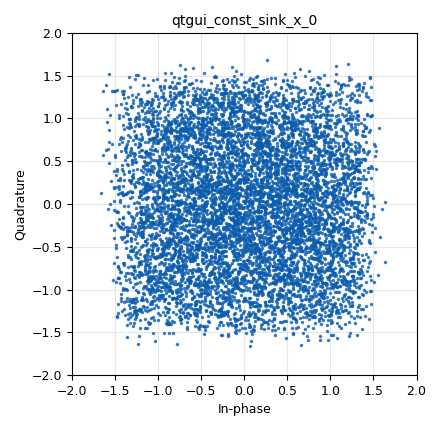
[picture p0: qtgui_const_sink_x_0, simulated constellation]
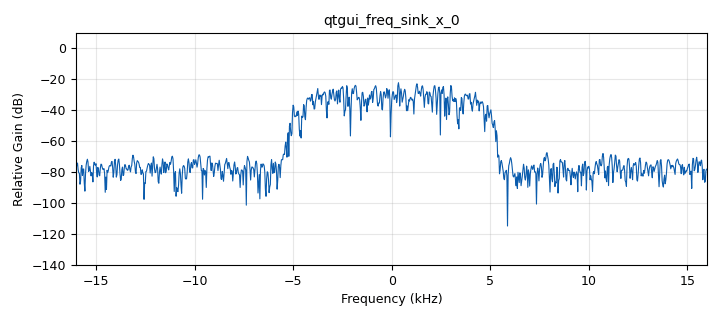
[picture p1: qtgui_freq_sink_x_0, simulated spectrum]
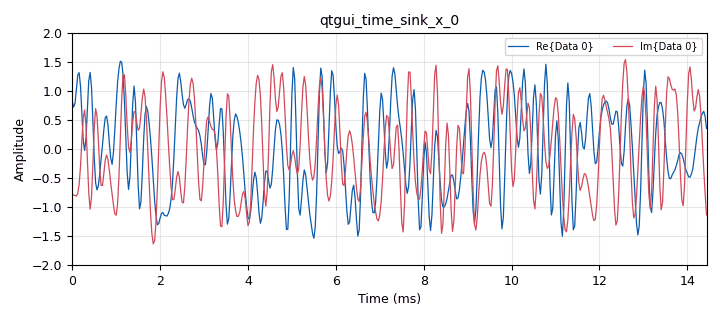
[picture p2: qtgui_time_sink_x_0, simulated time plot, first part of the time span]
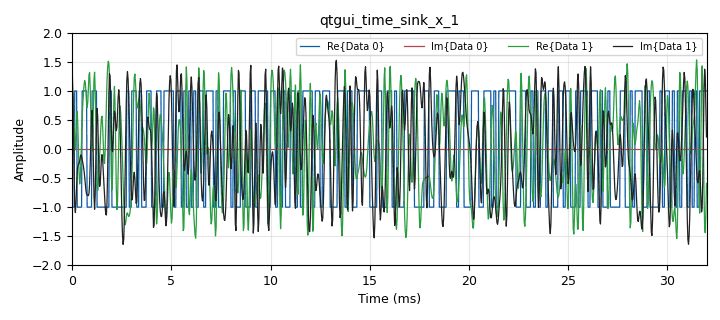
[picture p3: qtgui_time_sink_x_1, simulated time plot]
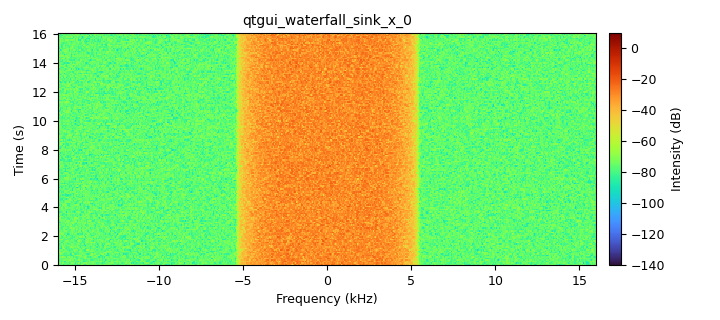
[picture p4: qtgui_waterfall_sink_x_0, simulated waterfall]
options:
  parameters:
    generate_options: qt_gui
    id: QAM64
    output_language: python
    title: 64 QAM
  states: {}

blocks:
- name: M
  id: variable
  parameters:
    value: '64'
  states: {}
- name: QAM_64
  id: variable_constellation
  parameters:
    const_points: '[-7+7j, -5+7j, -3+7j, -1+7j,  1+7j,  3+7j,  5+7j,  7+7j, -7+5j, -5+5j, -3+5j, -1+5j,  1+5j,  3+5j,  5+5j,  7+5j, -7+3j, -5+3j, -3+3j, -1+3j,  1+3j,  3+3j,  5+3j,  7+3j, -7+1j, -5+1j, -3+1j, -1+1j,  1+1j,  3+1j,  5+1j,  7+1j, -7-1j, -5-1j, -3-1j, -1-1j,  1-1j,  3-1j,  5-1j,  7-1j, -7-3j, -5-3j, -3-3j, -1-3j,  1-3j,  3-3j,  5-3j,  7-3j, -7-5j, -5-5j, -3-5j, -1-5j,  1-5j,  3-5j,  5-5j,  7-5j, -7-7j, -5-7j, -3-7j, -1-7j,  1-7j,  3-7j,  5-7j,  7-7j]'
    dims: '1'
    normalization: digital.constellation.AMPLITUDE_NORMALIZATION
    npwr: '0.000'
    precision: '8'
    rot_sym: '4'
    sym_map: '[0, 1, 3, 2, 6, 7, 5, 4, 8, 9, 11, 10, 14, 15, 13, 12, 24, 25, 27, 26, 30, 31, 29, 28, 16, 17, 19, 18, 22, 23, 21, 20, 48, 49, 51, 50, 54, 55, 53, 52, 56, 57, 59, 58, 62, 63, 61, 60, 40, 41, 43, 42, 46, 47, 45, 44, 32, 33, 35, 34, 38, 39, 37, 36]'
    type: calcdist
  states: {}
- name: excess_bw
  id: variable
  parameters:
    value: '0.35'
  states: {}
- name: excess_bw
  id: variable_qtgui_range
  parameters:
    start: '0'
    step: '0.1'
    stop: '1'
    value: '0'
  states: {state: disabled}
- name: filename
  id: variable
  parameters:
    value: '"QAM_64"'
  states: {}
- name: freq_offset
  id: variable_qtgui_range
  parameters:
    comment: 0,2,1,1
    label: 'Channel: Frequency Offset'
    start: '-0.2'
    step: '0.001'
    stop: '0.2'
    value: '0.00'
    widget: eng_slider
  states: {}
- name: n_samples
  id: variable
  parameters:
    value: '1024'
  states: {}
- name: noise_volt
  id: variable_qtgui_range
  parameters:
    comment: 0,0,1,1
    label: 'Channel: Noise Voltage'
    start: '0'
    step: '0.01'
    stop: '1'
    value: '0.01'
  states: {}
- name: rrc_taps
  id: variable
  parameters:
    value: firdes.root_raised_cosine(1.0,samp_rate,samp_rate/sps,excess_bw,11*sps)
  states: {}
- name: samp_rate
  id: variable
  parameters:
    value: '32000'
  states: {}
- name: sps
  id: variable
  parameters:
    value: '4'
  states: {}
- name: taps
  id: variable
  parameters:
    value: '[1.0 + 0.0j, ]'
  states: {}
- name: time_offset
  id: variable_qtgui_range
  parameters:
    comment: 0,1,1,1
    label: 'Channel: Timing Offset'
    start: '0.999'
    step: '0.0001'
    stop: '1.001'
    value: '1.0001'
  states: {}
- name: analog_random_source_x_0
  id: analog_random_source_x
  parameters:
    max: '256'
    min: '0'
    num_samps: '10000'
    repeat: 'True'
    type: byte
  states: {}
- name: analog_sig_source_x_0
  id: analog_sig_source_x
  parameters:
    amp: '1'
    freq: '1000'
    offset: '0'
    phase: '0'
    samp_rate: samp_rate
    type: byte
    waveform: analog.GR_SQR_WAVE
  states: {state: disabled}
- name: blocks_add_const_vxx_0
  id: blocks_add_const_vxx
  parameters:
    const: '-0.5'
    type: float
  states: {}
- name: blocks_char_to_float_0
  id: blocks_char_to_float
  parameters:
    scale: '1'
  states: {}
- name: blocks_char_to_float_0_0
  id: blocks_char_to_float
  parameters:
    scale: '1'
  states: {state: disabled}
- name: blocks_float_to_complex_0
  id: blocks_float_to_complex
  parameters: {}
  states: {}
- name: blocks_multiply_const_vxx_0
  id: blocks_multiply_const_vxx
  parameters:
    const: '2'
    type: float
  states: {}
- name: blocks_repeat_0
  id: blocks_repeat
  parameters:
    interp: sps
    type: float
  states: {}
- name: blocks_throttle2_0
  id: blocks_throttle2
  parameters:
    samples_per_second: samp_rate
    type: complex
  states: {}
- name: blocks_uchar_to_float_0
  id: blocks_uchar_to_float
  parameters: {}
  states: {state: disabled}
- name: blocks_unpack_k_bits_bb_0
  id: blocks_unpack_k_bits_bb
  parameters:
    k: '8'
  states: {}
- name: channels_channel_model_0
  id: channels_channel_model
  parameters:
    epsilon: time_offset
    freq_offset: freq_offset
    noise_voltage: noise_volt
    seed: '0'
    taps: taps
  states: {}
- name: custom_file_writer_0
  id: custom_file_writer
  parameters:
    filename: '"output.dat"'
    freq_offset: '0.0'
    modulation_scheme: '"BPSK"'
    num_samples: '1024'
    snr: '10.0'
  states: {state: disabled}
- name: digital_constellation_modulator_0
  id: digital_constellation_modulator
  parameters:
    constellation: QAM_64
    differential: 'True'
    excess_bw: excess_bw
    samples_per_symbol: sps
  states: {}
- name: epy_block_0
  id: epy_block
  parameters:
    _source_code: "import numpy as np\nfrom gnuradio import gr\n\nclass custom_file_writer(gr.sync_block):\n    def __init__(self, filename='output.dat', num_samples=1024):\n        gr.sync_block.__init__(self, name=\"custom_file_writer\", in_sig=[np.complex64], out_sig=None)\n        self.counter = 0\n        self.samples_per_file = num_samples\n        self.filename = filename\n\n        # Create message port for enabling writing\n        self.message_port_register_in(gr.pmt.intern(\"enable_write\"))\n        self.set_msg_handler(gr.pmt.intern(\"enable_write\"), self.handle_message)\n\n        # Buffer to hold incoming data\n        self.buffer = []\n\n    def handle_message(self, msg):\n        # Check if the message is a boolean 'true' (1)\n        if gr.pmt.is_true(msg):\n            self.write_to_file()\n\n    def write_to_file(self):\n        # Check if there are enough samples in the buffer\n        if len(self.buffer) < self.samples_per_file:\n            return  # Not enough data to write\n\n        # Write the specified number of samples to a file\n        filename = f\"{self.filename}_{self.counter}.dat\"\n        with open(filename, 'ab') as f:\n            # Write the first `num_samples` samples to the file\n            f.write(np.array(self.buffer[:self.samples_per_file]).tobytes())\n        \n        # Remove written samples from buffer\n        self.buffer = self.buffer[self.samples_per_file:]  \n        \n        self.counter += 1\n\n    def work(self, input_items, output_items):\n        # Append incoming samples to the buffer\n        self.buffer.extend(input_items[0])  # Add new samples to the buffer\n        return len(input_items[0])  # Return the number of samples processed\n\n"
    filename: filename
    num_samples: n_samples
  states: {state: disabled}
- name: id_write_button_0
  id: variable_qtgui_msg_push_button
  parameters:
    label: write
    msgName: pressed
    type: bool
    value: '1'
  states: {state: disabled}
- name: qtgui_const_sink_x_0
  id: qtgui_const_sink_x
  parameters:
    size: 1024*4*2
    type: complex
  states: {}
- name: qtgui_eye_sink_x_0
  id: qtgui_eye_sink_x
  parameters:
    samp_per_symbol: sps
    size: '4096'
    srate: samp_rate
    type: complex
  states: {state: disabled}
- name: qtgui_freq_sink_x_0
  id: qtgui_freq_sink_x
  parameters:
    bw: samp_rate
    fc: '0'
    fftsize: '1024'
    gui_hint: 1,2,1,2
    type: complex
  states: {}
- name: qtgui_time_sink_x_0
  id: qtgui_time_sink_x
  parameters:
    entags: 'False'
    gui_hint: 1,0,1,2
    size: '1024'
    srate: samp_rate
    type: complex
    ymax: '2'
    ymin: '-2'
  states: {}
- name: qtgui_time_sink_x_1
  id: qtgui_time_sink_x
  parameters:
    nconnections: '2'
    size: '1024'
    srate: samp_rate
    type: complex
    ymax: '2'
    ymin: '-2'
  states: {}
- name: qtgui_time_sink_x_2
  id: qtgui_time_sink_x
  parameters:
    size: '1024'
    srate: samp_rate
    type: float
  states: {state: disabled}
- name: qtgui_waterfall_sink_x_0
  id: qtgui_waterfall_sink_x
  parameters:
    bw: samp_rate
    fc: '0'
    fftsize: '1024'
    type: complex
  states: {}

connections:
- [analog_random_source_x_0, '0', blocks_char_to_float_0_0, '0']
- [analog_random_source_x_0, '0', blocks_unpack_k_bits_bb_0, '0']
- [analog_random_source_x_0, '0', digital_constellation_modulator_0, '0']
- [analog_sig_source_x_0, '0', blocks_char_to_float_0, '0']
- [analog_sig_source_x_0, '0', digital_constellation_modulator_0, '0']
- [blocks_add_const_vxx_0, '0', blocks_multiply_const_vxx_0, '0']
- [blocks_char_to_float_0, '0', blocks_add_const_vxx_0, '0']
- [blocks_char_to_float_0_0, '0', qtgui_time_sink_x_2, '0']
- [blocks_float_to_complex_0, '0', qtgui_time_sink_x_1, '0']
- [blocks_multiply_const_vxx_0, '0', blocks_repeat_0, '0']
- [blocks_repeat_0, '0', blocks_float_to_complex_0, '0']
- [blocks_throttle2_0, '0', channels_channel_model_0, '0']
- [blocks_throttle2_0, '0', qtgui_const_sink_x_0, '0']
- [blocks_throttle2_0, '0', qtgui_eye_sink_x_0, '0']
- [blocks_throttle2_0, '0', qtgui_time_sink_x_1, '1']
- [blocks_uchar_to_float_0, '0', blocks_add_const_vxx_0, '0']
- [blocks_unpack_k_bits_bb_0, '0', blocks_char_to_float_0, '0']
- [blocks_unpack_k_bits_bb_0, '0', blocks_uchar_to_float_0, '0']
- [channels_channel_model_0, '0', custom_file_writer_0, '0']
- [channels_channel_model_0, '0', epy_block_0, '0']
- [channels_channel_model_0, '0', qtgui_freq_sink_x_0, '0']
- [channels_channel_model_0, '0', qtgui_time_sink_x_0, '0']
- [channels_channel_model_0, '0', qtgui_waterfall_sink_x_0, '0']
- [digital_constellation_modulator_0, '0', blocks_throttle2_0, '0']
- [id_write_button_0, pressed, epy_block_0, enable_write]

metadata:
  file_format: 1
  grc_version: 3.10.9.2
